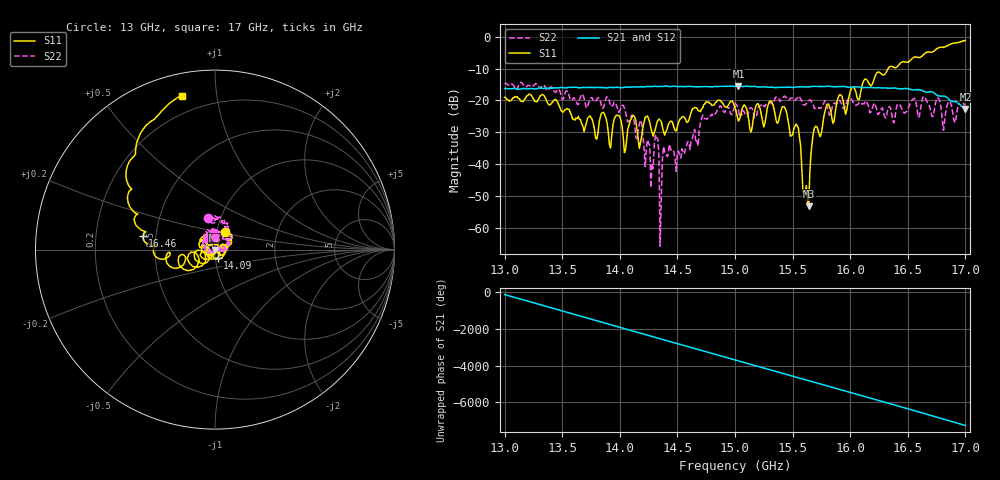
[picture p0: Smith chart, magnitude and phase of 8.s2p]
!Keysight Technologies,P9374A,MY57211807,A.19.30.04
!Date: Friday, May 01, 2026 14:43:28
!Correction: S11(C  2-Port  )
!S21(C  2-Port  )
!S12(C  2-Port  )
!S22(C  2-Port  )
!S2P File: Measurements: S11, S21, S12, S22:
# Hz S  RI  R 50
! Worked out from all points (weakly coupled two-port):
!   401 points, 13 GHz to 17 GHz, reference 50 ohm
!   highest |S21| = -15.45 dB at 15.03 GHz (marker M1); lowest = -22.7 dB at 17 GHz (marker M2)
!   lowest |S11| = -53.3 dB at 15.64 GHz (marker M3), VSWR 1.00, Z = 50.1 - j0.201 ohm
!   |S11| at or under -10 dB: start of sweep to 16.33 GHz
!   |S22| runs from -65.9 to -14.3 dB; largest |S21 - S12| = 0.0043
!   S11 on the Smith chart (normalised r, x): 13 GHz: 1.10, +0.21; 14.09 GHz: 1.02, -0.09; 16.46 GHz: 0.42, +0.07; 17 GHz: 0.11, +0.80
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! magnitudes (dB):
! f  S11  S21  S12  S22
! 13 GHz  -19.0  -16.3  -16.3  -14.9
! 13.67 GHz  -27.5  -16.0  -16.0  -18.0
! 13.86 GHz  -23.8  -15.9  -15.9  -22.1
! 13.92 GHz  -35.0  -15.9  -15.9  -21.9
! 13.98 GHz  -24.7  -15.9  -15.9  -22.5
! 14.05 GHz  -35.5  -15.8  -15.8  -23.7
! 14.09 GHz  -26.4  -15.8  -15.7  -25.7
! 14.27 GHz  -28.7  -15.6  -15.6  -47.5
! 14.32 GHz  -27.2  -15.6  -15.6  -31.8
! 14.34 GHz  -25.8  -15.6  -15.6  -38.0
! 14.72 GHz  -22.3  -15.7  -15.7  -24.6
! 15 GHz  -22.1  -15.6  -15.6  -20.8
! 15.03 GHz  -26.5  -15.5  -15.4  -23.0
! 15.43 GHz  -22.2  -15.9  -15.8  -18.6
! 15.54 GHz  -28.0  -15.8  -15.7  -19.4
! 15.61 GHz  -48.9  -15.7  -15.7  -21.4
! 15.64 GHz  -53.3  -15.7  -15.7  -20.1
! 15.67 GHz  -33.2  -15.6  -15.6  -21.1
! 15.8 GHz  -21.4  -15.5  -15.5  -21.7
! 16.34 GHz  -9.5  -16.2  -16.2  -21.9
! 16.46 GHz  -7.8  -16.3  -16.3  -23.6
! 17 GHz  -1.1  -22.7  -22.7  -23.2
